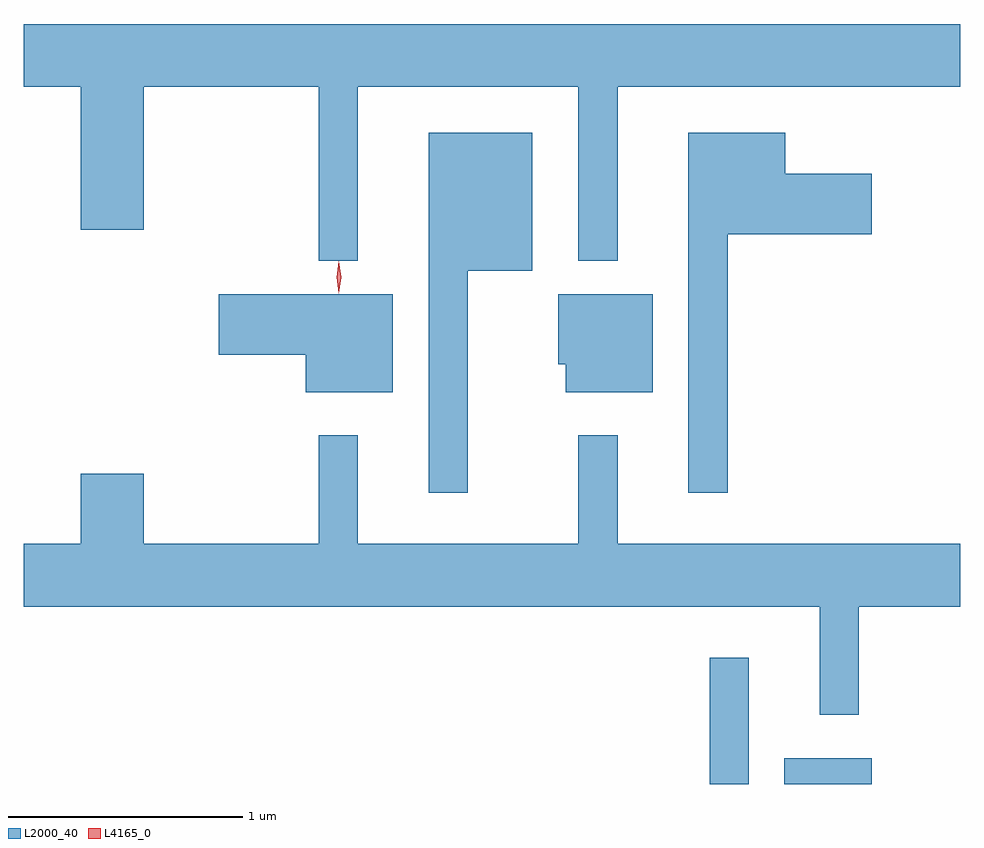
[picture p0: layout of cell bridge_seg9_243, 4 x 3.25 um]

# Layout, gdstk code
import gdstk
lib = gdstk.Library(unit=1e-6, precision=1e-09)
def R(c, l, rs):  # rectangles x0, y0, x1, y1
    for r in rs: c.add(gdstk.rectangle(r[:2], r[2:], *l))
def P(c, l, *ps):  # polygons
    for p in ps: c.add(gdstk.Polygon(p, *l))
L2000_40 = (2000, 40)
L4165_0 = (4165, 0)

bridge_seg9_243 = lib.new_cell('bridge_seg9_243')
R(bridge_seg9_243, L2000_40, [(1456.521,1986.618,1456.689,1987.158), (1456.841,1986.618,1457.214,1986.729)])
P(bridge_seg9_243, L2000_40, [(1453.592,1989.596),(1453.836,1989.596),(1453.836,1988.986),(1454.104,1988.986),(1454.104,1989.596),(1454.851,1989.596),(1454.851,1988.853),(1455.019,1988.853),(1455.019,1989.596),(1455.961,1989.596),(1455.961,1988.853),(1456.129,1988.853),(1456.129,1989.596),(1457.592,1989.596),(1457.592,1989.864),(1453.592,1989.864)],
  [(1456.599,1988.966),(1457.214,1988.966),(1457.214,1989.224),(1456.844,1989.224),(1456.844,1989.399),(1456.431,1989.399),(1456.431,1987.863),(1456.599,1987.863)],
  [(1455.489,1988.811),(1455.764,1988.811),(1455.764,1989.399),(1455.321,1989.399),(1455.321,1987.863),(1455.489,1987.863)],
  [(1455.169,1988.709),(1454.426,1988.709),(1454.426,1988.451),(1454.796,1988.451),(1454.796,1988.291),(1455.169,1988.291)],
  [(1456.279,1988.709),(1455.876,1988.709),(1455.876,1988.411),(1455.906,1988.411),(1455.906,1988.291),(1456.279,1988.291)],
  [(1457.159,1987.376),(1457.592,1987.376),(1457.592,1987.644),(1456.129,1987.644),(1456.129,1988.108),(1455.961,1988.108),(1455.961,1987.644),(1455.019,1987.644),(1455.019,1988.108),(1454.851,1988.108),(1454.851,1987.644),(1454.104,1987.644),(1454.104,1987.944),(1453.836,1987.944),(1453.836,1987.644),(1453.592,1987.644),(1453.592,1987.376),(1456.991,1987.376),(1456.991,1986.913),(1457.159,1986.913)])
P(bridge_seg9_243, L4165_0, [(1454.937,1988.72),(1454.928,1988.783),(1454.937,1988.846),(1454.937,1988.847),(1454.938,1988.846),(1454.948,1988.783),(1454.938,1988.72),(1454.938,1988.72)],
  [(1454.937,1988.714),(1454.928,1988.782),(1454.937,1988.85),(1454.937,1988.85),(1454.938,1988.85),(1454.948,1988.782),(1454.938,1988.714),(1454.938,1988.714)])

lib.write_gds('bridge_seg9_243.gds')
